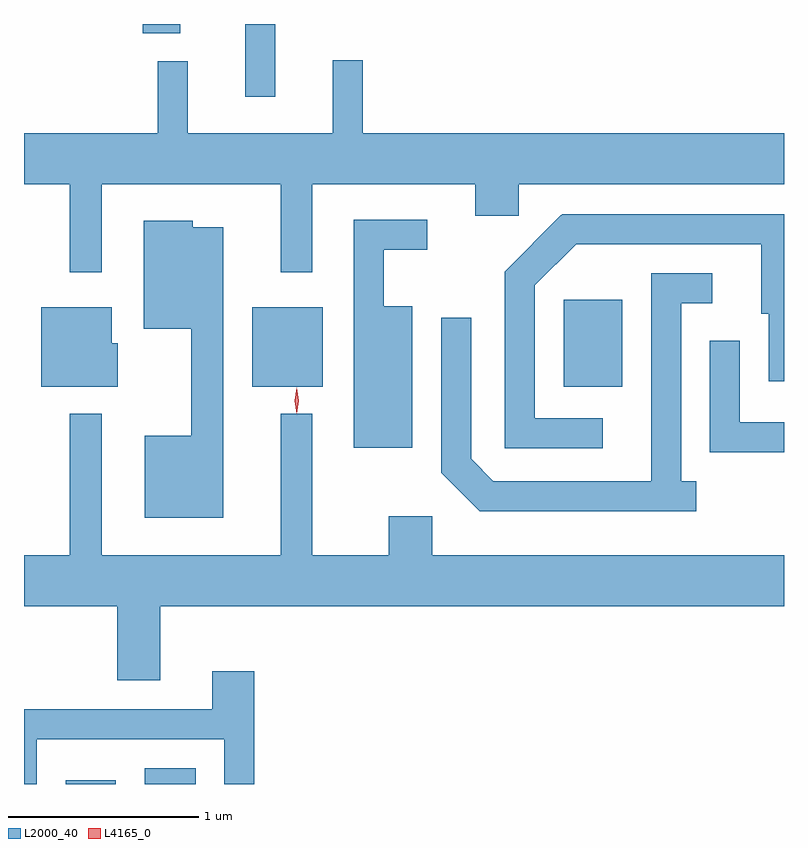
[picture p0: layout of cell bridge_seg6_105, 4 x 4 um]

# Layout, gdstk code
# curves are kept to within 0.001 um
import gdstk
lib = gdstk.Library(unit=1e-6, precision=1e-09)
def R(c, l, rs):  # rectangles x0, y0, x1, y1
    for r in rs: c.add(gdstk.rectangle(r[:2], r[2:], *l))
def P(c, l, *ps):  # polygons
    for p in ps: c.add(gdstk.Polygon(p, *l))
L2000_40 = (2000, 40)
L4165_0 = (4165, 0)

bridge_seg6_105 = lib.new_cell('bridge_seg6_105')
R(bridge_seg6_105, L2000_40, [(1049.231,1629.02,1049.494,1629.039), (1049.646,1629.02,1049.914,1629.104), (1050.211,1631.111,1050.584,1631.529), (1051.851,1631.111,1052.159,1631.569), (1050.176,1632.638,1050.334,1633.02), (1049.636,1632.971,1049.834,1633.02)])
P(bridge_seg6_105, L2000_40, [(1049.419,1632.176),(1050.361,1632.176),(1050.361,1631.713),(1050.529,1631.713),(1050.529,1632.176),(1051.386,1632.176),(1051.386,1632.011),(1051.614,1632.011),(1051.614,1632.176),(1053.011,1632.176),(1053.011,1632.444),(1050.794,1632.444),(1050.794,1632.828),(1050.636,1632.828),(1050.636,1632.444),(1049.874,1632.444),(1049.874,1632.823),(1049.716,1632.823),(1049.716,1632.444),(1049.011,1632.444),(1049.011,1632.176),(1049.251,1632.176),(1049.251,1631.713),(1049.419,1631.713)],
  [(1052.058,1630.944),(1051.699,1630.944),(1051.699,1631.644),(1051.917,1631.861),(1052.891,1631.861),(1052.891,1631.496),(1052.931,1631.496),(1052.931,1631.141),(1053.011,1631.141),(1053.011,1632.019),(1051.844,1632.019),(1051.541,1631.717),(1051.541,1630.786),(1052.058,1630.786)],
  [(1051.054,1631.534),(1050.904,1631.534),(1050.904,1631.831),(1051.133,1631.831),(1051.133,1631.989),(1050.746,1631.989),(1050.746,1630.791),(1051.054,1630.791)],
  [(1050.059,1631.949),(1049.899,1631.949),(1049.899,1631.984),(1049.641,1631.984),(1049.641,1631.416),(1049.891,1631.416),(1049.891,1630.854),(1049.646,1630.854),(1049.646,1630.421),(1050.059,1630.421)],
  [(1052.548,1630.614),(1052.469,1630.614),(1052.469,1631.551),(1052.633,1631.551),(1052.633,1631.709),(1052.311,1631.709),(1052.311,1630.614),(1051.482,1630.614),(1051.364,1630.732),(1051.364,1631.473),(1051.206,1631.473),(1051.206,1630.659),(1051.409,1630.456),(1052.548,1630.456)],
  [(1049.504,1631.339),(1049.474,1631.339),(1049.474,1631.529),(1049.101,1631.529),(1049.101,1631.111),(1049.504,1631.111)],
  [(1053.011,1630.924),(1052.779,1630.924),(1052.779,1631.353),(1052.621,1631.353),(1052.621,1630.766),(1053.011,1630.766)],
  [(1049.729,1629.956),(1053.011,1629.956),(1053.011,1630.224),(1051.159,1630.224),(1051.159,1630.429),(1050.931,1630.429),(1050.931,1630.224),(1050.529,1630.224),(1050.529,1630.968),(1050.361,1630.968),(1050.361,1630.224),(1049.419,1630.224),(1049.419,1630.968),(1049.251,1630.968),(1049.251,1630.224),(1049.011,1630.224),(1049.011,1629.956),(1049.501,1629.956),(1049.501,1629.566),(1049.729,1629.566)],
  [(1049.079,1629.256),(1050.066,1629.256),(1050.066,1629.02),(1050.224,1629.02),(1050.224,1629.614),(1050.001,1629.614),(1050.001,1629.414),(1049.011,1629.414),(1049.011,1629.02),(1049.079,1629.02)])
P(bridge_seg6_105, L4165_0, [(1050.447,1630.969),(1050.446,1630.97),(1050.437,1631.038),(1050.446,1631.106),(1050.447,1631.106),(1050.447,1631.106),(1050.457,1631.038),(1050.447,1630.97)],
  [(1050.447,1630.972),(1050.446,1630.973),(1050.437,1631.037),(1050.446,1631.101),(1050.447,1631.102),(1050.447,1631.101),(1050.457,1631.037),(1050.447,1630.973)])

lib.write_gds('bridge_seg6_105.gds')
